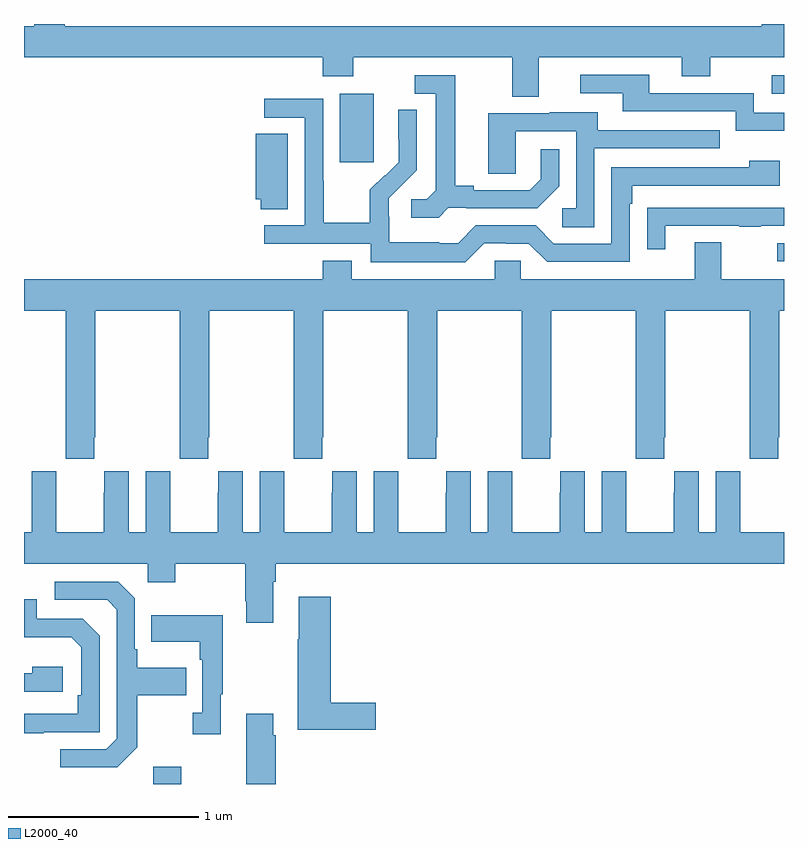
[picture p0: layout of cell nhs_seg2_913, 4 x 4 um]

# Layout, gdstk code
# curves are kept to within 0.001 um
import gdstk
lib = gdstk.Library(unit=1e-6, precision=1e-09)
def R(c, l, rs):  # rectangles x0, y0, x1, y1
    for r in rs: c.add(gdstk.rectangle(r[:2], r[2:], *l))
def P(c, l, *ps):  # polygons
    for p in ps: c.add(gdstk.Polygon(p, *l))
L2000_40 = (2000, 40)

nhs_seg2_913 = lib.new_cell('nhs_seg2_913')
R(nhs_seg2_913, L2000_40, [(157.679,655.8,157.827,655.891), (160.965,658.551,161,658.647), (158.663,659.073,158.842,659.434), (160.935,659.433,161,659.529)])
P(nhs_seg2_913, L2000_40, [(159.709,659.624),(160.463,659.624),(160.463,659.525),(160.611,659.525),(160.611,659.624),(161,659.624),(161,659.8),(160.883,659.8),(160.883,659.788),(157.214,659.788),(157.214,659.8),(157.054,659.8),(157.054,659.788),(157,659.788),(157,659.624),(158.573,659.624),(158.573,659.525),(158.733,659.525),(158.733,659.624),(159.569,659.624),(159.569,659.416),(159.709,659.416)],
  [(161,659.334),(160.842,659.334),(160.842,659.436),(160.291,659.436),(160.291,659.532),(159.927,659.532),(159.927,659.436),(160.151,659.436),(160.151,659.34),(160.746,659.34),(160.746,659.237),(161,659.237)],
  [(159.234,658.833),(159.328,658.833),(159.328,658.83),(159.7,658.83),(159.816,658.946),(159.816,659.14),(159.719,659.14),(159.719,658.983),(159.662,658.926),(159.367,658.926),(159.367,658.949),(159.271,658.949),(159.271,659.529),(159.057,659.529),(159.057,659.433),(159.167,659.433),(159.167,658.925),(159.12,658.878),(159.039,658.878),(159.039,658.781),(159.182,658.781)],
  [(159.423,658.647),(159.539,658.647),(159.539,658.644),(159.657,658.644),(159.753,658.548),(160.188,658.548),(160.188,658.853),(160.201,658.853),(160.201,658.95),(160.978,658.95),(160.978,659.08),(160.817,659.08),(160.817,659.046),(160.092,659.046),(160.092,658.644),(159.789,658.644),(159.693,658.74),(159.378,658.74),(159.285,658.647),(159.185,658.647),(159.185,658.651),(158.922,658.651),(158.922,658.785),(158.92,658.785),(158.92,658.882),(159.066,659.03),(159.066,659.348),(158.97,659.348),(158.97,659.194),(158.972,659.194),(158.972,659.072),(158.901,659.001),(158.898,659.004),(158.821,658.927),(158.821,658.753),(158.577,658.753),(158.577,658.976),(158.574,658.976),(158.574,659.406),(158.265,659.406),(158.265,659.307),(158.478,659.307),(158.478,658.74),(158.265,658.74),(158.265,658.644),(158.826,658.644),(158.826,658.547),(159.323,658.547)],
  [(160.002,659.145),(160.661,659.145),(160.661,659.241),(160.021,659.241),(160.021,659.335),(159.767,659.335),(159.767,659.331),(159.443,659.331),(159.443,659.011),(159.588,659.011),(159.588,659.235),(159.906,659.235),(159.906,658.83),(159.834,658.83),(159.834,658.729),(160.002,658.729)],
  [(158.389,659.222),(158.219,659.222),(158.219,658.878),(158.246,658.878),(158.246,658.825),(158.389,658.825)],
  [(160.375,658.737),(160.765,658.737),(160.765,658.732),(160.877,658.732),(160.877,658.737),(161,658.737),(161,658.833),(160.381,658.833),(160.381,658.832),(160.279,658.832),(160.279,658.614),(160.375,658.614)],
  [(157.371,657.625),(157.374,657.625),(157.374,658.292),(157.819,658.292),(157.819,657.625),(157.821,657.625),(157.821,657.513),(157.971,657.513),(157.971,657.625),(157.974,657.625),(157.974,658.292),(158.419,658.292),(158.419,657.625),(158.421,657.625),(158.421,657.513),(158.571,657.513),(158.571,657.625),(158.574,657.625),(158.574,658.292),(159.019,658.292),(159.019,657.625),(159.021,657.625),(159.021,657.513),(159.171,657.513),(159.171,657.625),(159.174,657.625),(159.174,658.292),(159.619,658.292),(159.619,657.625),(159.621,657.625),(159.621,657.513),(159.771,657.513),(159.771,657.625),(159.774,657.625),(159.774,658.292),(160.219,658.292),(160.219,657.625),(160.221,657.625),(160.221,657.513),(160.371,657.513),(160.371,657.625),(160.374,657.625),(160.374,658.292),(160.819,658.292),(160.819,657.625),(160.821,657.625),(160.821,657.513),(160.971,657.513),(160.971,657.625),(160.974,657.625),(160.974,658.292),(161,658.292),(161,658.456),(160.669,658.456),(160.669,658.651),(160.529,658.651),(160.529,658.456),(159.615,658.456),(159.615,658.554),(159.477,658.554),(159.477,658.456),(158.725,658.456),(158.725,658.555),(158.573,658.555),(158.573,658.456),(157,658.456),(157,658.292),(157.219,658.292),(157.219,657.625),(157.221,657.625),(157.221,657.513),(157.371,657.513)],
  [(158.311,656.864),(158.324,656.864),(158.324,656.96),(161,656.96),(161,657.124),(160.771,657.124),(160.771,657.332),(160.77,657.332),(160.77,657.445),(160.64,657.445),(160.64,657.124),(160.552,657.124),(160.552,657.445),(160.422,657.445),(160.422,657.332),(160.421,657.332),(160.421,657.124),(160.171,657.124),(160.171,657.332),(160.17,657.332),(160.17,657.445),(160.04,657.445),(160.04,657.124),(159.952,657.124),(159.952,657.445),(159.822,657.445),(159.822,657.332),(159.821,657.332),(159.821,657.124),(159.571,657.124),(159.571,657.332),(159.57,657.332),(159.57,657.445),(159.44,657.445),(159.44,657.124),(159.352,657.124),(159.352,657.445),(159.222,657.445),(159.222,657.332),(159.221,657.332),(159.221,657.124),(158.971,657.124),(158.971,657.332),(158.97,657.332),(158.97,657.445),(158.84,657.445),(158.84,657.124),(158.752,657.124),(158.752,657.445),(158.622,657.445),(158.622,657.332),(158.621,657.332),(158.621,657.124),(158.371,657.124),(158.371,657.332),(158.37,657.332),(158.37,657.445),(158.24,657.445),(158.24,657.124),(158.152,657.124),(158.152,657.445),(158.022,657.445),(158.022,657.332),(158.021,657.332),(158.021,657.124),(157.771,657.124),(157.771,657.332),(157.77,657.332),(157.77,657.445),(157.64,657.445),(157.64,657.124),(157.552,657.124),(157.552,657.445),(157.422,657.445),(157.422,657.332),(157.421,657.332),(157.421,657.124),(157.171,657.124),(157.171,657.332),(157.17,657.332),(157.17,657.445),(157.04,657.445),(157.04,657.124),(157,657.124),(157,656.96),(157.65,656.96),(157.65,656.861),(157.797,656.861),(157.797,656.96),(158.164,656.96),(158.164,656.761),(158.171,656.761),(158.171,656.649),(158.311,656.649)],
  [(157.597,655.993),(157.597,656.266),(157.853,656.266),(157.853,656.413),(157.597,656.413),(157.597,656.509),(157.584,656.509),(157.584,656.778),(157.497,656.865),(157.161,656.865),(157.161,656.769),(157.437,656.769),(157.488,656.718),(157.488,656.037),(157.434,655.983),(157.191,655.983),(157.191,655.887),(157.491,655.887)],
  [(158.851,656.228),(158.615,656.228),(158.615,656.785),(158.447,656.785),(158.447,656.561),(158.44,656.561),(158.44,656.086),(158.851,656.086)],
  [(157.103,656.073),(157.398,656.073),(157.398,656.58),(157.308,656.67),(157.068,656.67),(157.068,656.772),(157,656.772),(157,656.573),(157.249,656.573),(157.302,656.52),(157.302,656.266),(157.282,656.266),(157.282,656.169),(157,656.169),(157,656.068),(157.103,656.068)],
  [(158.035,656.273),(158.047,656.273),(158.047,656.689),(157.669,656.689),(157.669,656.549),(157.926,656.549),(157.926,656.453),(157.938,656.453),(157.938,656.174),(157.887,656.174),(157.887,656.061),(158.035,656.061)],
  [(157.204,656.416),(157.043,656.416),(157.043,656.382),(157,656.382),(157,656.286),(157.204,656.286)],
  [(158.324,656.057),(158.311,656.057),(158.311,656.17),(158.171,656.17),(158.171,655.8),(158.324,655.8)])

lib.write_gds('nhs_seg2_913.gds')
